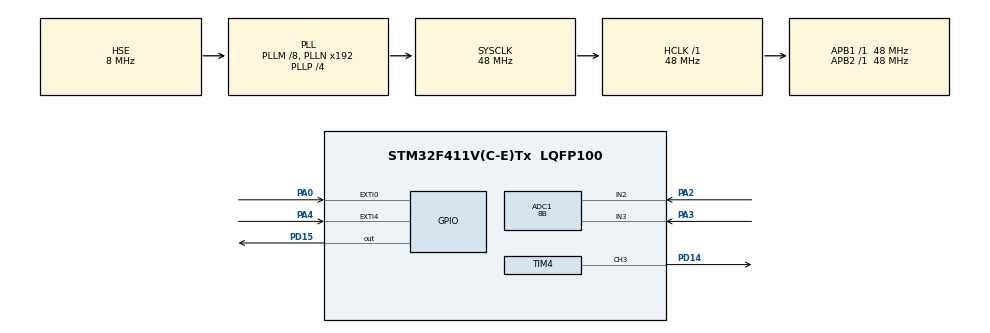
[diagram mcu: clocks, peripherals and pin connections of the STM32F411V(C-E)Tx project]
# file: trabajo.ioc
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ADC1.Channel-0\#ChannelRegularConversion=ADC_CHANNEL_2
ADC1.Channel-1\#ChannelRegularConversion=ADC_CHANNEL_3
ADC1.ContinuousConvMode=ENABLE
ADC1.DMAContinuousRequests=ENABLE
ADC1.DiscontinuousConvMode=DISABLE
ADC1.EOCSelection=ADC_EOC_SEQ_CONV
ADC1.ExternalTrigConv=ADC_SOFTWARE_START
ADC1.InjNumberOfConversion=0
ADC1.NbrOfConversion=2
ADC1.NbrOfConversionFlag=1
ADC1.Rank-0\#ChannelRegularConversion=1
ADC1.Rank-1\#ChannelRegularConversion=2
ADC1.Resolution=ADC_RESOLUTION_8B
ADC1.SamplingTime-0\#ChannelRegularConversion=ADC_SAMPLETIME_480CYCLES
ADC1.SamplingTime-1\#ChannelRegularConversion=ADC_SAMPLETIME_480CYCLES
ADC1.ScanConvMode=ENABLE
ADC1.master=1
Dma.ADC1.0.Direction=DMA_PERIPH_TO_MEMORY
Dma.ADC1.0.FIFOMode=DMA_FIFOMODE_DISABLE
Dma.ADC1.0.Instance=DMA2_Stream0
Dma.ADC1.0.MemDataAlignment=DMA_MDATAALIGN_WORD
Dma.ADC1.0.MemInc=DMA_MINC_ENABLE
Dma.ADC1.0.Mode=DMA_CIRCULAR
Dma.ADC1.0.PeriphDataAlignment=DMA_PDATAALIGN_WORD
Dma.ADC1.0.PeriphInc=DMA_PINC_DISABLE
Dma.ADC1.0.Priority=DMA_PRIORITY_LOW
Dma.Request0=ADC1
Mcu.Family=STM32F4
Mcu.Name=STM32F411V(C-E)Tx
Mcu.Package=LQFP100
NVIC.ADC_IRQn=true\:0\:0\:false\:false\:true\:true\:true\:true
NVIC.DMA2_Stream0_IRQn=true\:0\:0\:false\:false\:true\:false\:true\:true
NVIC.EXTI0_IRQn=true\:0\:0\:false\:false\:true\:true\:true\:true
NVIC.EXTI4_IRQn=true\:0\:0\:false\:false\:true\:true\:true\:true
NVIC.PriorityGroup=NVIC_PRIORITYGROUP_0
NVIC.TIM4_IRQn=true\:0\:0\:false\:false\:true\:true\:true\:true
PA0-WKUP.Signal=GPXTI0
PA2.Signal=ADCx_IN2
PA3.Signal=ADCx_IN3
PA4.Signal=GPXTI4
PD14.Signal=S_TIM4_CH3
PD15.Signal=GPIO_Output
PH0\ -\ OSC_IN.Mode=HSE-External-Oscillator
PH0\ -\ OSC_IN.Signal=RCC_OSC_IN
PH1\ -\ OSC_OUT.Mode=HSE-External-Oscillator
PH1\ -\ OSC_OUT.Signal=RCC_OSC_OUT
ProjectManager.HeapSize=0x200
ProjectManager.StackSize=0x400
ProjectManager.TargetToolchain=STM32CubeIDE
RCC.48MHZClocksFreq_Value=24000000
RCC.AHBFreq_Value=48000000
RCC.APB1Freq_Value=48000000
RCC.APB1TimFreq_Value=48000000
RCC.APB2Freq_Value=48000000
RCC.APB2TimFreq_Value=48000000
RCC.CortexFreq_Value=48000000
RCC.HCLKFreq_Value=48000000
RCC.HSE_VALUE=8000000
RCC.HSI_VALUE=16000000
RCC.LSE_VALUE=32768
RCC.PLLI2SM=5
RCC.PLLI2SN=200
RCC.PLLM=8
RCC.PLLP=RCC_PLLP_DIV4
RCC.PLLQ=8
RCC.PLLSourceVirtual=RCC_PLLSOURCE_HSE
RCC.SYSCLKFreq_VALUE=48000000
RCC.SYSCLKSource=RCC_SYSCLKSOURCE_PLLCLK
RCC.VCOOutputFreq_Value=192000000
SH.ADCx_IN2.0=ADC1_IN2,IN2
SH.ADCx_IN3.0=ADC1_IN3,IN3
SH.S_TIM4_CH3.0=TIM4_CH3,PWM Generation3 CH3
TIM4.Channel-PWM\ Generation3\ CH3=TIM_CHANNEL_3
TIM4.Period=9999
TIM4.Prescaler=47999
VP_TIM4_VS_ClockSourceINT.Mode=Internal
board=STM32F411E-DISCO

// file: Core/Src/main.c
/* USER CODE BEGIN Header */
/**
  ******************************************************************************
  * @file           : main.c
  * @brief          : Main program body
  ******************************************************************************
  * @attention
  *
  * Copyright (c) 2022 STMicroelectronics.
  * All rights reserved.
  *
  * This software is licensed under terms that can be found in the LICENSE file
  * in the root directory of this software component.
  * If no LICENSE file comes with this software, it is provided AS-IS.
  *
  ******************************************************************************
  */
/* USER CODE END Header */
#include "main.h"

/* USER CODE BEGIN PD */
#define N_ESTADOS 4 //0 iluminacion 1 manual 2 retardo 3 parpadeo
/* USER CODE END PD */

ADC_HandleTypeDef hadc1;
DMA_HandleTypeDef hdma_adc1;

TIM_HandleTypeDef htim4;

void SystemClock_Config(void);
static void MX_GPIO_Init(void);
static void MX_DMA_Init(void);
static void MX_ADC1_Init(void);
static void MX_TIM4_Init(void);

/* USER CODE BEGIN 0 */

//ANTIRREBOTES
/*Returns true when the button has been pressed after debounce period*/
int debouncer(volatile int* button_int, GPIO_TypeDef* GPIO_port, uint16_t GPIO_number){
	static uint8_t button_count=0;
	static int counter=0;

	if (*button_int==1){
		if (button_count==0) {
			counter=HAL_GetTick();
			button_count++;
		}
		if (HAL_GetTick()-counter>=15){
			counter=HAL_GetTick();
			if (HAL_GPIO_ReadPin(GPIO_port, GPIO_number)!=1){
				button_count=1;
			}
			else{
				button_count++;
			}
			if (button_count==4){ //Periodo antirebotes
				button_count=0;
				*button_int=0;
				return 1;
			}
		}
	}
	return 0;
}

	volatile uint32_t estados = 0;	//0 iluminacion 1 manual 2 retardo 3 parpadeo
	volatile uint32_t boton0_pulsado = 0;

	volatile uint32_t boton4_pulsado = 0;

	uint32_t buffer_ADC[2];
	uint32_t valor_analogico[2];

	uint8_t contador_modo_3 = 0;

	HAL_GPIO_EXTI_Callback(uint16_t  GPIO_Pin)
	{
		if(GPIO_Pin == GPIO_PIN_0)
		{
			boton0_pulsado = 1;

		}

		else if (GPIO_Pin == GPIO_PIN_4)
			boton4_pulsado = 1;
	}

	HAL_ADC_ConvCpltCallback (ADC_HandleTypeDef * hadc)
	{
		if(hadc->Instance == ADC1)
		{
			valor_analogico[0]=buffer_ADC[0];
			valor_analogico[1]=buffer_ADC[1];
		}

	}

	HAL_TIM_PeriodElapsedCallback(TIM_HandleTypeDef *htim)
	{
		if(htim->Instance == TIM4)
		{
			HAL_GPIO_WritePin(GPIOD, GPIO_PIN_15, 0);
			HAL_TIM_Base_Stop_IT(htim);
			__HAL_TIM_SET_COUNTER(htim, 0);
		}

	}
/* USER CODE END 0 */

int main(void)
{

  /* MCU Configuration--------------------------------------------------------*/

  /* Reset of all peripherals, Initializes the Flash interface and the Systick. */
  HAL_Init();

  /* Configure the system clock */
  SystemClock_Config();

  /* Initialize all configured peripherals */
  MX_GPIO_Init();
  MX_DMA_Init();
  MX_ADC1_Init();
  MX_TIM4_Init();
  /* USER CODE BEGIN 2 */

  HAL_ADC_Start_DMA(&hadc1, buffer_ADC, 2); //Arranca el dma para el estado 0

  HAL_TIM_PWM_Start(&htim4, TIM_CHANNEL_3); //Iniciar PWM para modo 3

  /* USER CODE END 2 */

  /* Infinite loop */
  /* USER CODE BEGIN WHILE */
  while (1)
  {
	  //estados
	  //0 iluminacion natural
	  //1 manual
	  //2 retardo
	  //3 intensidad variadad
	  __disable_irq();
	  if(debouncer(&boton0_pulsado, GPIOA, GPIO_PIN_0))
	  {

		  estados = (estados + 1) % N_ESTADOS;
		  HAL_GPIO_WritePin(GPIOD, GPIO_PIN_15, 0);
		  contador_modo_3 = 0;

	  }
	  __enable_irq();

	  if(estados == 0)	//Modo iluminacion ambiente
	  {

		  __disable_irq();
		  if(valor_analogico[0] < valor_analogico[1])
			  HAL_GPIO_WritePin(GPIOD, GPIO_PIN_15, 1);
		  else
			  HAL_GPIO_WritePin(GPIOD, GPIO_PIN_15, 0);
		  __enable_irq();
	  }

	  else if (estados == 1)
	  {
		  __disable_irq();
		  if(debouncer(&boton4_pulsado,GPIOA,GPIO_PIN_4))
		  {
			  HAL_GPIO_TogglePin(GPIOD, GPIO_PIN_15);
		  }
		  __enable_irq();
	  }
	  else if (estados == 2)
	  {
		  __disable_irq();
		  if(debouncer(&boton4_pulsado,GPIOA,GPIO_PIN_4))
		  {
			  HAL_TIM_Base_Start_IT(&htim4);
			  HAL_GPIO_WritePin(GPIOD, GPIO_PIN_15, 1);

		  }
		  __enable_irq();
	  }
	  else if (estados == 3)	//modo parpadeo
	  {
		  __disable_irq();
		  if(debouncer(&boton4_pulsado,GPIOA,GPIO_PIN_4))
		  {
		  	  contador_modo_3 ++;
		  	  if(contador_modo_3 > 4 )
		 	  {
		  	 	  contador_modo_3 = 0;
		  	  }

		  }
		  switch(contador_modo_3)
		  {
		  	  case 0:  __HAL_TIM_SET_COMPARE(&htim4, TIM_CHANNEL_3, 0); break;
		  	  case 1:  __HAL_TIM_SET_COMPARE(&htim4, TIM_CHANNEL_3, 1000); break;
		  	  case 2:  __HAL_TIM_SET_COMPARE(&htim4, TIM_CHANNEL_3, 2500); break;
		  	  case 3:  __HAL_TIM_SET_COMPARE(&htim4, TIM_CHANNEL_3, 5000); break;
		  	  case 4:  __HAL_TIM_SET_COMPARE(&htim4, TIM_CHANNEL_3, 10000); break;

		  }
		  __enable_irq();
	  }
  }
}

void SystemClock_Config(void)
{
  RCC_OscInitTypeDef RCC_OscInitStruct = {0};
  RCC_ClkInitTypeDef RCC_ClkInitStruct = {0};

  /** Configure the main internal regulator output voltage
  */
  __HAL_RCC_PWR_CLK_ENABLE();
  __HAL_PWR_VOLTAGESCALING_CONFIG(PWR_REGULATOR_VOLTAGE_SCALE1);

  /** Initializes the RCC Oscillators according to the specified parameters
  * in the RCC_OscInitTypeDef structure.
  */
  RCC_OscInitStruct.OscillatorType = RCC_OSCILLATORTYPE_HSE;
  RCC_OscInitStruct.HSEState = RCC_HSE_ON;
  RCC_OscInitStruct.PLL.PLLState = RCC_PLL_ON;
  RCC_OscInitStruct.PLL.PLLSource = RCC_PLLSOURCE_HSE;
  RCC_OscInitStruct.PLL.PLLM = 8;
  RCC_OscInitStruct.PLL.PLLN = 192;
  RCC_OscInitStruct.PLL.PLLP = RCC_PLLP_DIV4;
  RCC_OscInitStruct.PLL.PLLQ = 8;
  if (HAL_RCC_OscConfig(&RCC_OscInitStruct) != HAL_OK)
  {
    Error_Handler();
  }

  /** Initializes the CPU, AHB and APB buses clocks
  */
  RCC_ClkInitStruct.ClockType = RCC_CLOCKTYPE_HCLK|RCC_CLOCKTYPE_SYSCLK
                              |RCC_CLOCKTYPE_PCLK1|RCC_CLOCKTYPE_PCLK2;
  RCC_ClkInitStruct.SYSCLKSource = RCC_SYSCLKSOURCE_PLLCLK;
  RCC_ClkInitStruct.AHBCLKDivider = RCC_SYSCLK_DIV1;
  RCC_ClkInitStruct.APB1CLKDivider = RCC_HCLK_DIV1;
  RCC_ClkInitStruct.APB2CLKDivider = RCC_HCLK_DIV1;

  if (HAL_RCC_ClockConfig(&RCC_ClkInitStruct, FLASH_LATENCY_1) != HAL_OK)
  {
    Error_Handler();
  }
}

static void MX_ADC1_Init(void)
{

  ADC_ChannelConfTypeDef sConfig = {0};

  /** Configure the global features of the ADC (Clock, Resolution, Data Alignment and number of conversion)
  */
  hadc1.Instance = ADC1;
  hadc1.Init.ClockPrescaler = ADC_CLOCK_SYNC_PCLK_DIV2;
  hadc1.Init.Resolution = ADC_RESOLUTION_8B;
  hadc1.Init.ScanConvMode = ENABLE;
  hadc1.Init.ContinuousConvMode = ENABLE;
  hadc1.Init.DiscontinuousConvMode = DISABLE;
  hadc1.Init.ExternalTrigConvEdge = ADC_EXTERNALTRIGCONVEDGE_NONE;
  hadc1.Init.ExternalTrigConv = ADC_SOFTWARE_START;
  hadc1.Init.DataAlign = ADC_DATAALIGN_RIGHT;
  hadc1.Init.NbrOfConversion = 2;
  hadc1.Init.DMAContinuousRequests = ENABLE;
  hadc1.Init.EOCSelection = ADC_EOC_SEQ_CONV;
  if (HAL_ADC_Init(&hadc1) != HAL_OK)
  {
    Error_Handler();
  }

  /** Configure for the selected ADC regular channel its corresponding rank in the sequencer and its sample time.
  */
  sConfig.Channel = ADC_CHANNEL_2;
  sConfig.Rank = 1;
  sConfig.SamplingTime = ADC_SAMPLETIME_480CYCLES;
  if (HAL_ADC_ConfigChannel(&hadc1, &sConfig) != HAL_OK)
  {
    Error_Handler();
  }

  /** Configure for the selected ADC regular channel its corresponding rank in the sequencer and its sample time.
  */
  sConfig.Channel = ADC_CHANNEL_3;
  sConfig.Rank = 2;
  if (HAL_ADC_ConfigChannel(&hadc1, &sConfig) != HAL_OK)
  {
    Error_Handler();
  }

}

static void MX_TIM4_Init(void)
{

  TIM_ClockConfigTypeDef sClockSourceConfig = {0};
  TIM_MasterConfigTypeDef sMasterConfig = {0};
  TIM_OC_InitTypeDef sConfigOC = {0};

  htim4.Instance = TIM4;
  htim4.Init.Prescaler = 47999;
  htim4.Init.CounterMode = TIM_COUNTERMODE_UP;
  htim4.Init.Period = 9999;
  htim4.Init.ClockDivision = TIM_CLOCKDIVISION_DIV1;
  htim4.Init.AutoReloadPreload = TIM_AUTORELOAD_PRELOAD_DISABLE;
  if (HAL_TIM_Base_Init(&htim4) != HAL_OK)
  {
    Error_Handler();
  }
  sClockSourceConfig.ClockSource = TIM_CLOCKSOURCE_INTERNAL;
  if (HAL_TIM_ConfigClockSource(&htim4, &sClockSourceConfig) != HAL_OK)
  {
    Error_Handler();
  }
  if (HAL_TIM_PWM_Init(&htim4) != HAL_OK)
  {
    Error_Handler();
  }
  sMasterConfig.MasterOutputTrigger = TIM_TRGO_RESET;
  sMasterConfig.MasterSlaveMode = TIM_MASTERSLAVEMODE_DISABLE;
  if (HAL_TIMEx_MasterConfigSynchronization(&htim4, &sMasterConfig) != HAL_OK)
  {
    Error_Handler();
  }
  sConfigOC.OCMode = TIM_OCMODE_PWM1;
  sConfigOC.Pulse = 0;
  sConfigOC.OCPolarity = TIM_OCPOLARITY_HIGH;
  sConfigOC.OCFastMode = TIM_OCFAST_DISABLE;
  if (HAL_TIM_PWM_ConfigChannel(&htim4, &sConfigOC, TIM_CHANNEL_3) != HAL_OK)
  {
    Error_Handler();
  }
  HAL_TIM_MspPostInit(&htim4);

}

static void MX_DMA_Init(void)
{

  /* DMA controller clock enable */
  __HAL_RCC_DMA2_CLK_ENABLE();

  /* DMA interrupt init */
  /* DMA2_Stream0_IRQn interrupt configuration */
  HAL_NVIC_SetPriority(DMA2_Stream0_IRQn, 0, 0);
  HAL_NVIC_EnableIRQ(DMA2_Stream0_IRQn);

}

static void MX_GPIO_Init(void)
{
  GPIO_InitTypeDef GPIO_InitStruct = {0};

  /* GPIO Ports Clock Enable */
  __HAL_RCC_GPIOH_CLK_ENABLE();
  __HAL_RCC_GPIOA_CLK_ENABLE();
  __HAL_RCC_GPIOD_CLK_ENABLE();

  /*Configure GPIO pin Output Level */
  HAL_GPIO_WritePin(GPIOD, GPIO_PIN_15, GPIO_PIN_RESET);

  /*Configure GPIO pins : PA0 PA4 */
  GPIO_InitStruct.Pin = GPIO_PIN_0|GPIO_PIN_4;
  GPIO_InitStruct.Mode = GPIO_MODE_IT_RISING;
  GPIO_InitStruct.Pull = GPIO_NOPULL;
  HAL_GPIO_Init(GPIOA, &GPIO_InitStruct);

  /*Configure GPIO pin : PD15 */
  GPIO_InitStruct.Pin = GPIO_PIN_15;
  GPIO_InitStruct.Mode = GPIO_MODE_OUTPUT_PP;
  GPIO_InitStruct.Pull = GPIO_NOPULL;
  GPIO_InitStruct.Speed = GPIO_SPEED_FREQ_LOW;
  HAL_GPIO_Init(GPIOD, &GPIO_InitStruct);

  /* EXTI interrupt init*/
  HAL_NVIC_SetPriority(EXTI0_IRQn, 0, 0);
  HAL_NVIC_EnableIRQ(EXTI0_IRQn);

  HAL_NVIC_SetPriority(EXTI4_IRQn, 0, 0);
  HAL_NVIC_EnableIRQ(EXTI4_IRQn);

}

void Error_Handler(void)
{
  __disable_irq();
  while (1)
  {
  }
}
